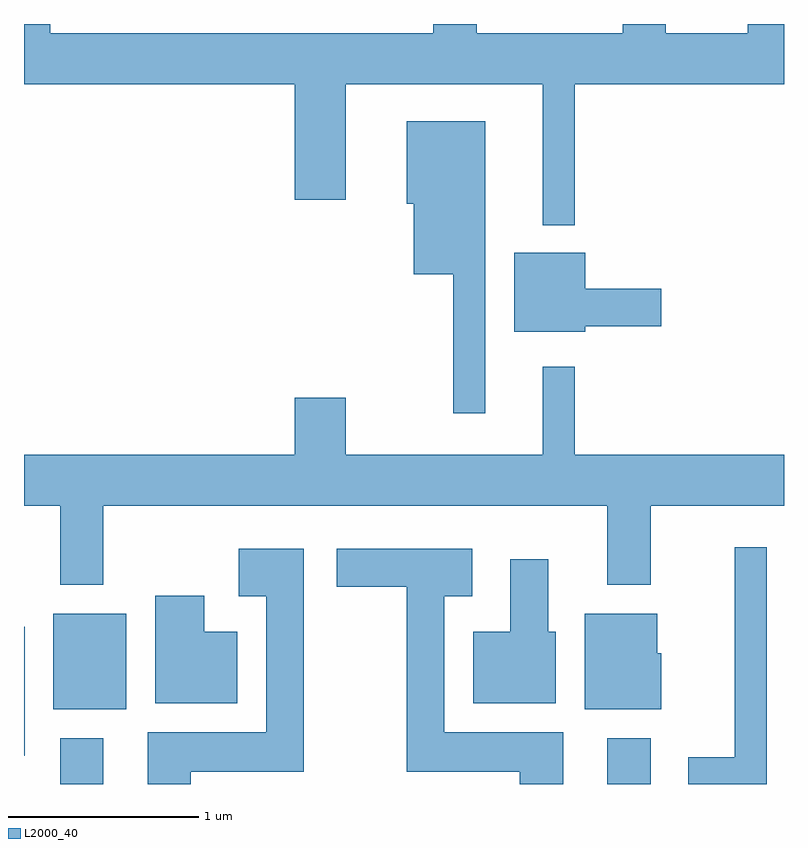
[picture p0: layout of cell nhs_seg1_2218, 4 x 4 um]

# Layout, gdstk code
import gdstk
lib = gdstk.Library(unit=1e-6, precision=1e-09)
def R(c, l, rs):  # rectangles x0, y0, x1, y1
    for r in rs: c.add(gdstk.rectangle(r[:2], r[2:], *l))
def P(c, l, *ps):  # polygons
    for p in ps: c.add(gdstk.Polygon(p, *l))
L2000_40 = (2000, 40)

nhs_seg1_2218 = lib.new_cell('nhs_seg1_2218')
R(nhs_seg1_2218, L2000_40, [(253.801,853.712,254.029,853.954), (256.681,853.712,256.909,853.954), (253.611,853.861,253.614,854.539), (253.766,854.106,254.149,854.609)])
P(nhs_seg1_2218, L2000_40, [(256.509,857.396),(257.611,857.396),(257.611,857.712),(257.421,857.712),(257.421,857.664),(256.989,857.664),(256.989,857.712),(256.761,857.712),(256.761,857.664),(255.994,857.664),(255.994,857.712),(255.766,857.712),(255.766,857.664),(253.749,857.664),(253.749,857.712),(253.611,857.712),(253.611,857.396),(255.036,857.396),(255.036,856.786),(255.304,856.786),(255.304,857.396),(256.341,857.396),(256.341,856.653),(256.509,856.653)],
  [(256.039,857.199),(255.626,857.199),(255.626,856.766),(255.661,856.766),(255.661,856.396),(255.871,856.396),(255.871,855.663),(256.039,855.663)],
  [(256.564,856.121),(256.964,856.121),(256.964,856.319),(256.564,856.319),(256.564,856.509),(256.191,856.509),(256.191,856.091),(256.564,856.091)],
  [(254.029,855.176),(256.681,855.176),(256.681,854.761),(256.909,854.761),(256.909,855.176),(257.611,855.176),(257.611,855.444),(256.509,855.444),(256.509,855.908),(256.341,855.908),(256.341,855.444),(255.304,855.444),(255.304,855.744),(255.036,855.744),(255.036,855.444),(253.611,855.444),(253.611,855.176),(253.801,855.176),(253.801,854.761),(254.029,854.761)],
  [(257.519,854.958),(257.351,854.958),(257.351,853.854),(257.106,853.854),(257.106,853.712),(257.519,853.712)],
  [(254.489,853.776),(255.084,853.776),(255.084,854.949),(254.741,854.949),(254.741,854.701),(254.886,854.701),(254.886,853.984),(254.261,853.984),(254.261,853.712),(254.489,853.712)],
  [(256.449,853.984),(255.824,853.984),(255.824,854.701),(255.969,854.701),(255.969,854.949),(255.256,854.949),(255.256,854.751),(255.626,854.751),(255.626,853.776),(256.221,853.776),(256.221,853.712),(256.449,853.712)],
  [(256.409,854.514),(256.369,854.514),(256.369,854.894),(256.171,854.894),(256.171,854.514),(255.976,854.514),(255.976,854.136),(256.409,854.136)],
  [(254.734,854.514),(254.559,854.514),(254.559,854.704),(254.301,854.704),(254.301,854.136),(254.734,854.136)],
  [(256.964,854.399),(256.944,854.399),(256.944,854.609),(256.561,854.609),(256.561,854.106),(256.964,854.106)])

lib.write_gds('nhs_seg1_2218.gds')
